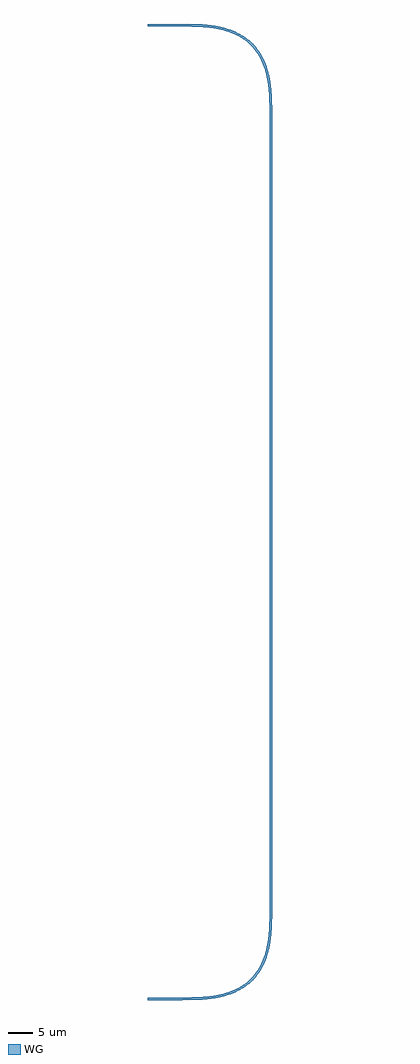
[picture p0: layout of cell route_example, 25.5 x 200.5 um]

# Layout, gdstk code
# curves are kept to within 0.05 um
from math import pi, radians
import gdstk
lib = gdstk.Library(unit=1e-6, precision=1e-09)
def R(c, l, rs):  # rectangles x0, y0, x1, y1
    for r in rs: c.add(gdstk.rectangle(r[:2], r[2:], *l))
def P(c, l, *ps):  # polygons
    for p in ps: c.add(gdstk.Polygon(p, *l))
WG = (1, 0)

straight_w500_l5000 = lib.new_cell('straight_W500_L5000')
R(straight_w500_l5000, WG, [(0,-0.25,5,0.25)])

bend_euler_w0p5_r10_lwg_ = lib.new_cell('bend_euler_W0p5_R10_LWG_ENone_A90_R150')
P(bend_euler_w0p5_r10_lwg_, WG, [(0,-0.25),(0,0.25),(3.214,0.285),(5.343,0.413),(7.449,0.696),(9.255,1.116),(10.752,1.632),(12.178,2.312),(13.501,3.168),(14.496,4.019),(15.372,4.992),(16.258,6.294),(16.967,7.705),(17.51,9.193),(17.956,10.991),(18.262,13.093),(18.416,15.487),(18.451,18.701),(18.951,18.701),(18.924,15.741),(18.786,13.312),(18.544,11.43),(18.139,9.57),(17.532,7.761),(16.826,6.28),(16.095,5.121),(15.04,3.856),(13.801,2.769),(12.421,1.875),(10.94,1.169),(9.131,0.562),(7.271,0.157),(5.389,-0.085),(2.96,-0.223)])

straight_w500_l1549 = lib.new_cell('straight_W500_L1549')
R(straight_w500_l1549, WG, [(0,-0.25,1.549,0.25)])

straight_w500_l162598 = lib.new_cell('straight_W500_L162598')
R(straight_w500_l162598, WG, [(0,-0.25,162.598,0.25)])

route_example = lib.new_cell('route_example')
route_example.add(gdstk.Reference(straight_w500_l5000, (1,10)))
route_example.add(gdstk.Reference(straight_w500_l5000, (1,210)))
route_example.add(gdstk.Reference(bend_euler_w0p5_r10_lwg_, (26.25,28.701), rotation=3*pi/2, x_reflection=True))
route_example.add(gdstk.Reference(straight_w500_l1549, (6,10)))
route_example.add(gdstk.Reference(bend_euler_w0p5_r10_lwg_, (7.549,210), x_reflection=True))
route_example.add(gdstk.Reference(straight_w500_l162598, (26.25,28.701), rotation=pi/2, x_reflection=True))
route_example.add(gdstk.Reference(straight_w500_l1549, (7.549,210), rotation=pi, x_reflection=True))

lib.write_gds('route_example.gds')
